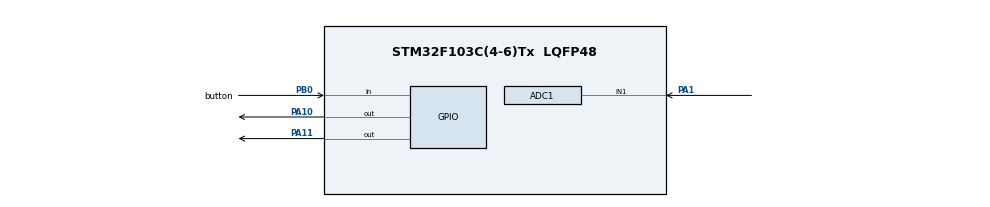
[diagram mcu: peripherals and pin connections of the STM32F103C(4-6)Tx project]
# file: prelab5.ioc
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ADC1.Channel-0\#ChannelRegularConversion=ADC_CHANNEL_1
ADC1.NbrOfConversionFlag=1
ADC1.Rank-0\#ChannelRegularConversion=1
ADC1.SamplingTime-0\#ChannelRegularConversion=ADC_SAMPLETIME_1CYCLE_5
ADC1.master=1
Mcu.Family=STM32F1
Mcu.Name=STM32F103C(4-6)Tx
Mcu.Package=LQFP48
NVIC.PriorityGroup=NVIC_PRIORITYGROUP_4
PA1.Signal=ADCx_IN1
PA10.Signal=GPIO_Output
PA11.Signal=GPIO_Output
PB0.GPIO_Label=button
PB0.GPIO_PuPd=GPIO_PULLDOWN
PB0.Signal=GPIO_Input
PD0-OSC_IN.Mode=HSE-External-Oscillator
PD0-OSC_IN.Signal=RCC_OSC_IN
PD1-OSC_OUT.Mode=HSE-External-Oscillator
PD1-OSC_OUT.Signal=RCC_OSC_OUT
ProjectManager.HeapSize=0x200
ProjectManager.StackSize=0x400
ProjectManager.TargetToolchain=MDK-ARM V5.32
RCC.APB1Freq_Value=8000000
RCC.APB2Freq_Value=8000000
SH.ADCx_IN1.0=ADC1_IN1,IN1
VP_SYS_VS_ND.Mode=No_Debug
board=custom

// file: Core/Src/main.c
/* USER CODE BEGIN Header */
/**
  ******************************************************************************
  * @file           : main.c
  * @brief          : Main program body
  ******************************************************************************
  * @attention
  *
  * Copyright (c) 2023 STMicroelectronics.
  * All rights reserved.
  *
  * This software is licensed under terms that can be found in the LICENSE file
  * in the root directory of this software component.
  * If no LICENSE file comes with this software, it is provided AS-IS.
  *
  ******************************************************************************
  */
/* USER CODE END Header */
#include "main.h"

ADC_HandleTypeDef hadc1;

void SystemClock_Config(void);
static void MX_GPIO_Init(void);
static void MX_ADC1_Init(void);

/* USER CODE BEGIN 0 */
     uint32_t adcValue;

/* USER CODE END 0 */

int main(void)
{

  /* MCU Configuration--------------------------------------------------------*/

  /* Reset of all peripherals, Initializes the Flash interface and the Systick. */
  HAL_Init();

  /* Configure the system clock */
  SystemClock_Config();

  /* Initialize all configured peripherals */
  MX_GPIO_Init();
  MX_ADC1_Init();
  /* USER CODE BEGIN 2 */
	GPIO_PinState button_value_current =GPIO_PIN_RESET;
	GPIO_PinState button_value_previous =GPIO_PIN_RESET;
	int led_blink = 0;

	HAL_ADCEx_Calibration_Start(&hadc1);

  /* USER CODE END 2 */

  /* Infinite loop */
  /* USER CODE BEGIN WHILE */
  while (1)
  {
		 button_value_previous = button_value_current;
		 button_value_current = HAL_GPIO_ReadPin(button_GPIO_Port,button_Pin);

		adcValue = 0;

		HAL_ADC_Start(&hadc1);

		if(button_value_current == GPIO_PIN_SET && button_value_current != button_value_previous)
    {
        HAL_ADC_Start(&hadc1);
        if (HAL_ADC_PollForConversion(&hadc1, 100) == HAL_OK)
        {
            adcValue = HAL_ADC_GetValue(&hadc1);
            if(adcValue >= 0x74D)
            {
                led_blink = 1;
            }
        }
        HAL_ADC_Stop(&hadc1);
    }

    if (led_blink == 1)
    {
        HAL_GPIO_WritePin(GPIOA, GPIO_PIN_10, GPIO_PIN_SET);
        HAL_Delay(500);
        HAL_GPIO_WritePin(GPIOA, GPIO_PIN_10, GPIO_PIN_RESET);
        led_blink = 0;
    }
    /* USER CODE END WHILE */

  }
}

void SystemClock_Config(void)
{
  RCC_OscInitTypeDef RCC_OscInitStruct = {0};
  RCC_ClkInitTypeDef RCC_ClkInitStruct = {0};
  RCC_PeriphCLKInitTypeDef PeriphClkInit = {0};

  /** Initializes the RCC Oscillators according to the specified parameters
  * in the RCC_OscInitTypeDef structure.
  */
  RCC_OscInitStruct.OscillatorType = RCC_OSCILLATORTYPE_HSI;
  RCC_OscInitStruct.HSIState = RCC_HSI_ON;
  RCC_OscInitStruct.HSICalibrationValue = RCC_HSICALIBRATION_DEFAULT;
  RCC_OscInitStruct.PLL.PLLState = RCC_PLL_NONE;
  if (HAL_RCC_OscConfig(&RCC_OscInitStruct) != HAL_OK)
  {
    Error_Handler();
  }

  /** Initializes the CPU, AHB and APB buses clocks
  */
  RCC_ClkInitStruct.ClockType = RCC_CLOCKTYPE_HCLK|RCC_CLOCKTYPE_SYSCLK
                              |RCC_CLOCKTYPE_PCLK1|RCC_CLOCKTYPE_PCLK2;
  RCC_ClkInitStruct.SYSCLKSource = RCC_SYSCLKSOURCE_HSI;
  RCC_ClkInitStruct.AHBCLKDivider = RCC_SYSCLK_DIV1;
  RCC_ClkInitStruct.APB1CLKDivider = RCC_HCLK_DIV1;
  RCC_ClkInitStruct.APB2CLKDivider = RCC_HCLK_DIV1;

  if (HAL_RCC_ClockConfig(&RCC_ClkInitStruct, FLASH_LATENCY_0) != HAL_OK)
  {
    Error_Handler();
  }
  PeriphClkInit.PeriphClockSelection = RCC_PERIPHCLK_ADC;
  PeriphClkInit.AdcClockSelection = RCC_ADCPCLK2_DIV2;
  if (HAL_RCCEx_PeriphCLKConfig(&PeriphClkInit) != HAL_OK)
  {
    Error_Handler();
  }
}

static void MX_ADC1_Init(void)
{

  ADC_ChannelConfTypeDef sConfig = {0};

  /** Common config
  */
  hadc1.Instance = ADC1;
  hadc1.Init.ScanConvMode = ADC_SCAN_DISABLE;
  hadc1.Init.ContinuousConvMode = DISABLE;
  hadc1.Init.DiscontinuousConvMode = DISABLE;
  hadc1.Init.ExternalTrigConv = ADC_SOFTWARE_START;
  hadc1.Init.DataAlign = ADC_DATAALIGN_RIGHT;
  hadc1.Init.NbrOfConversion = 1;
  if (HAL_ADC_Init(&hadc1) != HAL_OK)
  {
    Error_Handler();
  }

  /** Configure Regular Channel
  */
  sConfig.Channel = ADC_CHANNEL_1;
  sConfig.Rank = ADC_REGULAR_RANK_1;
  sConfig.SamplingTime = ADC_SAMPLETIME_1CYCLE_5;
  if (HAL_ADC_ConfigChannel(&hadc1, &sConfig) != HAL_OK)
  {
    Error_Handler();
  }

}

static void MX_GPIO_Init(void)
{
  GPIO_InitTypeDef GPIO_InitStruct = {0};

  /* GPIO Ports Clock Enable */
  __HAL_RCC_GPIOD_CLK_ENABLE();
  __HAL_RCC_GPIOA_CLK_ENABLE();
  __HAL_RCC_GPIOB_CLK_ENABLE();

  /*Configure GPIO pin Output Level */
  HAL_GPIO_WritePin(GPIOA, GPIO_PIN_10|GPIO_PIN_11, GPIO_PIN_RESET);

  /*Configure GPIO pin : button_Pin */
  GPIO_InitStruct.Pin = button_Pin;
  GPIO_InitStruct.Mode = GPIO_MODE_INPUT;
  GPIO_InitStruct.Pull = GPIO_PULLDOWN;
  HAL_GPIO_Init(button_GPIO_Port, &GPIO_InitStruct);

  /*Configure GPIO pins : PA10 PA11 */
  GPIO_InitStruct.Pin = GPIO_PIN_10|GPIO_PIN_11;
  GPIO_InitStruct.Mode = GPIO_MODE_OUTPUT_PP;
  GPIO_InitStruct.Pull = GPIO_NOPULL;
  GPIO_InitStruct.Speed = GPIO_SPEED_FREQ_LOW;
  HAL_GPIO_Init(GPIOA, &GPIO_InitStruct);

}

void Error_Handler(void)
{
  __disable_irq();
  while (1)
  {
  }
}
